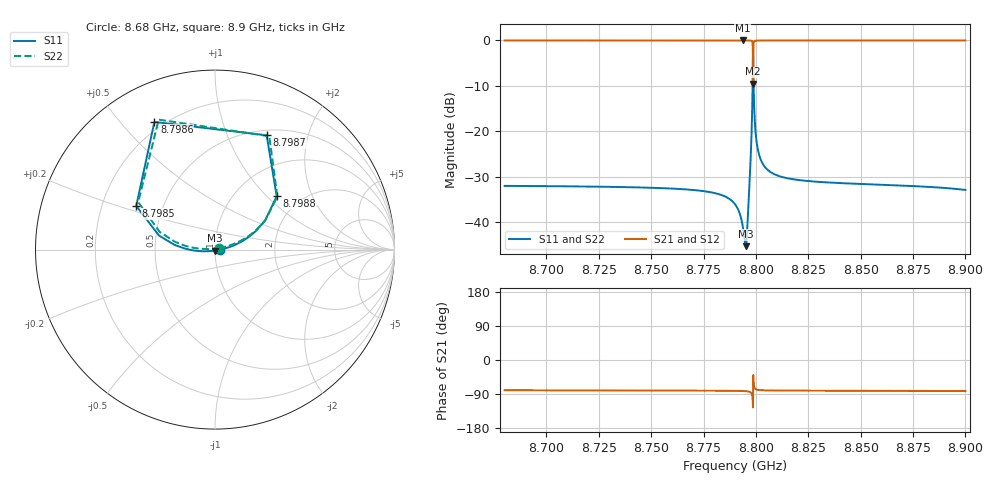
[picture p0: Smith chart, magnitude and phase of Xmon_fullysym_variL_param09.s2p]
! Sonnet Data File
! From: emgraph Version : 16.52
! From Project: 171117_Xmon_fullysym
! Data is De-embedded
! Data File Written: 11/26/2017 17:14:23
!< HDATE 11/22/2017 16:48:52
!< MDATE 11/23/2017 10:16:42
!< PARAMS
!< Lj = 11.0
!< Gap = 1.0
!< Pwid = 2000.0
!< Airgap = 6.0
!< Width = 10.0
!< Lj1 = 10.4
!< END PARAMS
# GHZ S MA R 50.90000
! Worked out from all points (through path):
!   2201 points, 8.68 GHz to 8.9 GHz, reference 50.9 ohm
!   highest |S21| = 0.00 dB at 8.7936 GHz (marker M1); lowest = -9.5 dB at 8.7986 GHz (marker M2)
!   lowest |S11| = -45.3 dB at 8.7951 GHz (marker M3), VSWR 1.01, Z = 51 - j0.547 ohm
!   |S11| at or under -10 dB: start of sweep to 8.7984 GHz; 8.7989 GHz to end of sweep
!   |S22| runs from -44.9 to -2.1 dB; largest |S21 - S12| = 2.2e-10
!   S11 on the Smith chart (normalised r, x): 8.68 GHz: 1.05, -0.00; 8.7985 GHz: 0.35, +0.23; 8.7986 GHz: 0.17, +0.62; 8.7987 GHz: 0.56, +1.40; 8.7988 GHz: 1.53, +1.15; 8.9 GHz: 1.05, -0.00
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8.68  0.02511 -1.5  0.9997 -79.8  0.9997 -79.8  0.02511 21.9
!< P1 F=8.68 Eeff=(6.44843488 -2.9797e-5) Z0=(50.9086135 1.17022e-4) R=0.0 C=0.0
!< P2 F=8.68 Eeff=(6.44843488 -2.9797e-5) Z0=(50.9086135 1.17022e-4) R=0.0 C=0.0
8.7167  0.02473 -2.1  0.9997 -80.1  0.9997 -80.1  0.02473 21.9
8.7534  0.02378 -3.1  0.9997 -80.5  0.9997 -80.5  0.02378 22.1
8.7796  0.02109 -5.3  0.9998 -80.9  0.9998 -80.9  0.02109 23.5
8.79  0.01577 -11.1  0.9999 -81.4  0.9999 -81.4  0.01579 28.5
8.7936  0.009315 -27.2  0.9999 -81.8  0.9999 -81.8  0.009393 44.2
8.7951  0.005446 -79.8  0.9999 -82.2  0.9999 -82.2  0.005709 95.4
8.7963  0.01362 -149.3  0.9996 -83.0  0.9996 -83.0  0.01386 161.1
8.7971  0.03242 -164.6  0.9988 -84.1  0.9988 -84.1  0.03265 174.0
8.7978  0.07957 -173.6  0.9945 -86.8  0.9945 -86.8  0.07989 176.6
8.7985  0.5016 151.0  0.7954 -112.1  0.7954 -112.1  0.5029 148.3
8.7986  0.7873 115.4  0.3336 -125.0  0.3336 -125.0  0.7892 113.4
8.7987  0.6988 65.7  0.5581 -39.7  0.5581 -39.7  0.7004 64.4
8.7988  0.4547 40.9  0.8445 -55.4  0.8445 -55.4  0.4556 40.3
8.7994  0.1365 15.2  0.9879 -74.4  0.9879 -74.4  0.1367 18.1
8.7998  0.09884 11.7  0.9939 -76.6  0.9939 -76.6  0.09897 16.4
8.8003  0.07689 9.3  0.9965 -77.9  0.9965 -77.9  0.07697 15.8
8.8011  0.06018 6.9  0.9979 -78.9  0.9979 -78.9  0.06023 15.8
8.8044  0.04019 2.9  0.9991 -80.1  0.9991 -80.1  0.04021 17.1
8.8267  0.02814 -1.5  0.9996 -81.0  0.9996 -81.0  0.02814 19.6
8.8634  0.02563 -3.2  0.9997 -81.5  0.9997 -81.5  0.02563 20.3
8.9  0.02265 -5.3  0.9997 -82.0  0.9997 -82.0  0.02265 21.4
